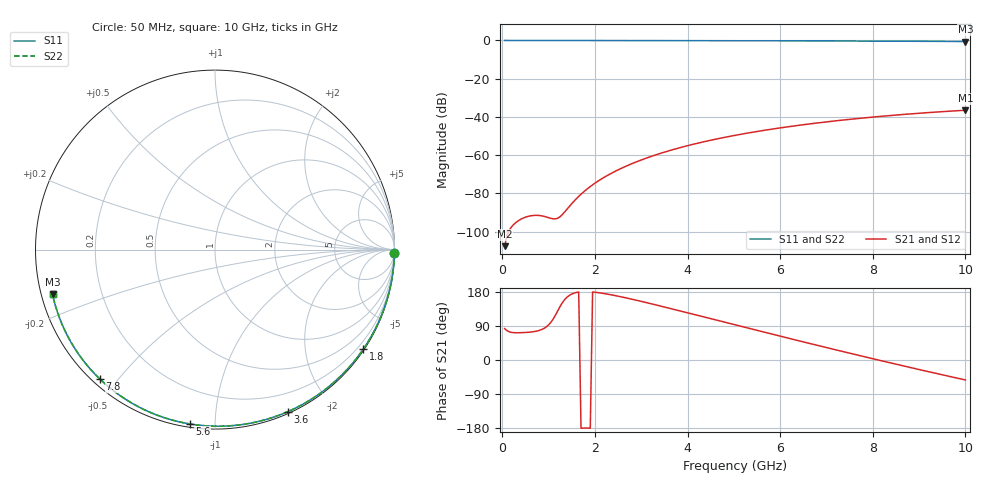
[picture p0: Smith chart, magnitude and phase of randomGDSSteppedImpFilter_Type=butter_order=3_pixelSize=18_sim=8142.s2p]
! freq	dB(S11)	phase(S11)	dB(S12)	phase(S12)
!  dB(S21)	phase(S21)	dB(S22)	phase(S22)
!S-par simulation data
#  GHz  S  DB  R 50
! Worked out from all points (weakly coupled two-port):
!   200 points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, 50 MHz to 10 GHz, reference 50 ohm
!   highest |S21| = -36.50 dB at 10 GHz (marker M1); lowest = -107.6 dB at 50 MHz (marker M2)
!   lowest |S11| = -0.5 dB at 10 GHz (marker M3), VSWR 31.73, Z = 1.6 - j6.77 ohm
!   |S11| at or under -10 dB: nowhere
!   |S22| runs from -0.5 to 0.0 dB; largest |S21 - S12| = 0
!   S11 on the Smith chart (normalised r, x): 50 MHz: open; 1.8 GHz: 0.03, -3.29; 3.6 GHz: 0.02, -1.55; 5.6 GHz: 0.02, -0.86; 7.8 GHz: 0.02, -0.45; 10 GHz: 0.03, -0.14
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0.05  -0.00 -1.0  -107.59 83.0  -107.59 83.0  -0.00 -1.0
0.45  -0.01 -8.6  -92.91 72.3  -92.91 72.3  -0.01 -8.6
0.85  -0.02 -16.2  -91.72 80.4  -91.72 80.4  -0.02 -16.2
1.7  -0.04 -32.0  -80.40 -179.9  -80.40 -179.9  -0.04 -32.0
1.75  -0.04 -32.9  -79.32 -179.5  -79.32 -179.5  -0.04 -32.9
1.8  -0.04 -33.8  -78.29 -179.5  -78.29 -179.5  -0.04 -33.8
1.95  -0.05 -36.5  -75.50 179.5  -75.50 179.5  -0.05 -36.5
2.1  -0.05 -39.3  -73.05 177.3  -73.05 177.3  -0.05 -39.3
2.3  -0.05 -42.9  -70.19 173.2  -70.19 173.2  -0.05 -42.9
2.5  -0.06 -46.5  -67.69 168.4  -67.69 168.4  -0.06 -46.5
2.9  -0.07 -53.6  -63.45 157.6  -63.45 157.6  -0.07 -53.6
3.4  -0.08 -62.3  -59.17 142.9  -59.17 142.9  -0.08 -62.3
3.6  -0.09 -65.7  -57.69 136.8  -57.69 136.8  -0.09 -65.7
4.3  -0.11 -77.4  -53.27 115.3  -53.27 115.3  -0.11 -77.4
5.05  -0.14 -89.6  -49.51 92.0  -49.51 92.0  -0.14 -89.6
5.6  -0.16 -98.3  -47.21 75.1  -47.21 75.1  -0.16 -98.3
6.15  -0.19 -106.8  -45.21 58.3  -45.21 58.3  -0.19 -106.8
6.7  -0.22 -115.1  -43.46 41.7  -43.46 41.7  -0.22 -115.1
7.8  -0.31 -131.5  -40.53 9.2  -40.53 9.2  -0.31 -131.5
8.35  -0.36 -139.7  -39.32 -6.7  -39.32 -6.7  -0.36 -139.7
9.2  -0.45 -152.4  -37.72 -30.7  -37.72 -30.7  -0.45 -152.4
10  -0.55 -164.6  -36.50 -52.6  -36.50 -52.6  -0.55 -164.6
